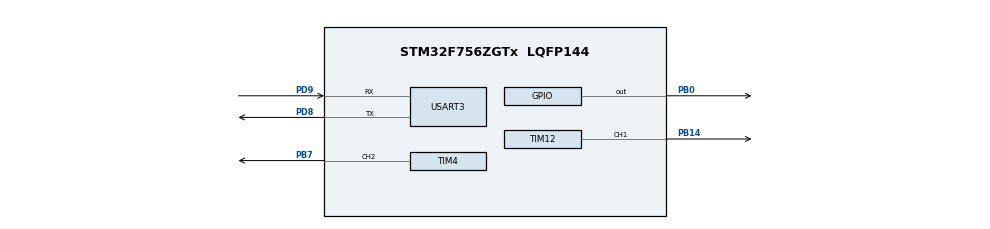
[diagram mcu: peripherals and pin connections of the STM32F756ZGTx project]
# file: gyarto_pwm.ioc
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ADC1.Channel-0\#ChannelRegularConversion=ADC_CHANNEL_TEMPSENSOR
ADC1.NbrOfConversionFlag=1
ADC1.Rank-0\#ChannelRegularConversion=1
ADC1.SamplingTime-0\#ChannelRegularConversion=ADC_SAMPLETIME_3CYCLES
ADC1.master=1
Mcu.Family=STM32F7
Mcu.Name=STM32F756ZGTx
Mcu.Package=LQFP144
NVIC.PriorityGroup=NVIC_PRIORITYGROUP_4
NVIC.TIM4_IRQn=true\:0\:0\:false\:false\:true\:true\:true
NVIC.TIM8_BRK_TIM12_IRQn=true\:0\:0\:false\:false\:true\:true\:true
NVIC.USART3_IRQn=true\:0\:0\:false\:false\:true\:true\:true
PB0.Signal=GPIO_Output
PB14.Signal=S_TIM12_CH1
PB7.Signal=S_TIM4_CH2
PD8.Mode=Asynchronous
PD8.Signal=USART3_TX
PD9.Mode=Asynchronous
PD9.Signal=USART3_RX
ProjectManager.HeapSize=0x200
ProjectManager.StackSize=0x400
ProjectManager.TargetToolchain=TrueSTUDIO
RCC.HSE_VALUE=25000000
RCC.HSI_VALUE=16000000
RCC.LSE_VALUE=32768
RCC.USBFreq_Value=96000000
RCC.VCOOutputFreq_Value=192000000
SH.S_TIM12_CH1.0=TIM12_CH1,PWM Generation1 CH1
SH.S_TIM4_CH2.0=TIM4_CH2,PWM Generation2 CH2
TIM12.Channel-PWM\ Generation1\ CH1=TIM_CHANNEL_1
TIM12.Period=100
TIM12.Prescaler=15
TIM12.Pulse-PWM\ Generation1\ CH1=50
TIM4.Channel-PWM\ Generation2\ CH2=TIM_CHANNEL_2
TIM4.Period=100
TIM4.Prescaler=15
TIM4.Pulse-PWM\ Generation2\ CH2=5
USART3.VirtualMode-Asynchronous=VM_ASYNC
VP_ADC1_TempSens_Input.Mode=IN-TempSens
VP_TIM12_VS_ClockSourceINT.Mode=Internal
VP_TIM4_VS_ClockSourceINT.Mode=Internal
board=custom

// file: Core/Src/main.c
/* USER CODE BEGIN Header */
/**
  ******************************************************************************
  * @file           : main.c
  * @brief          : Main program body
  ******************************************************************************
  * @attention
  *
  * <h2><center>&copy; Copyright (c) 2021 STMicroelectronics.
  * All rights reserved.</center></h2>
  *
  * This software component is licensed by ST under BSD 3-Clause license,
  * the "License"; You may not use this file except in compliance with the
  * License. You may obtain a copy of the License at:
  *                        opensource.org/licenses/BSD-3-Clause
  *
  ******************************************************************************
  */
/* USER CODE END Header */
#include "main.h"

/* USER CODE BEGIN PD */
#define MAX_LEN 4
/* USER CODE END PD */

ADC_HandleTypeDef hadc1;

TIM_HandleTypeDef htim4;
TIM_HandleTypeDef htim12;

UART_HandleTypeDef huart3;

void SystemClock_Config(void);
static void MX_GPIO_Init(void);
static void MX_TIM4_Init(void);
static void MX_TIM12_Init(void);
static void MX_USART3_UART_Init(void);
static void MX_ADC1_Init(void);
/* USER CODE BEGIN PFP */
uint8_t i=1;

uint16_t data=0;
uint8_t num_str[3];
char t=0;
uint32_t adc1_reg=0;
unsigned char uart_temp[10];
float temp = 0;
float kelvin=0;
float fahrenheit=0;
float ranken=0;

void HAL_UART_RxCpltCallback(UART_HandleTypeDef *huart)
{
	HAL_UART_Receive_IT(&huart3, &fogad, 1);

	t = fogad;
	t =  t- '0';
	/*received_string[cnt++] = data;

	data = t * 100; */

	if (huart->Instance == USART3)
	{

		switch(t){
			case 1: __HAL_TIM_SET_COMPARE(&htim4, TIM_CHANNEL_2, 0);

			break;

			case 2:
				__HAL_TIM_SET_COMPARE(&htim4, TIM_CHANNEL_2, 20);

				break;

			case 3: __HAL_TIM_SET_COMPARE(&htim4, TIM_CHANNEL_2, 40);

					break;

			case 4:
				__HAL_TIM_SET_COMPARE(&htim4, TIM_CHANNEL_2, 60);

					break;
			case 5:
						__HAL_TIM_SET_COMPARE(&htim4, TIM_CHANNEL_2, 80);

						break;
			case 6:
						__HAL_TIM_SET_COMPARE(&htim4, TIM_CHANNEL_2, 100);

					break;
		}

	}

}

void HAL_UART_TxCpltCallback(UART_HandleTypeDef *huart)
{
	//HAL_UART_Transmit_IT(&huart3, &fogad, 1);

}

//void HAL_UART_Receive_IT(&huart3, rx_buff, 10);
//void HAL_UART_Transmit_IT(&huart3, tx_buff, 10);
/* USER CODE END PFP */

/* USER CODE BEGIN 0 */
extern uint8_t fogad=0;
uint8_t tx_buff[]={0,1,2,3,4,5,6,7,8,9};
uint8_t rx_buff[10];

/* USER CODE END 0 */

int main(void)
{
  /* USER CODE BEGIN 1 */

	uint8_t text[] = "1: 0% \r\n 2: 20% \r\n 3: 40% \r\n 4: 60% \r\n 5: 80% \r\n 6: 100% \r\n" ;

  /* USER CODE END 1 */

  /* MCU Configuration--------------------------------------------------------*/

  /* Reset of all peripherals, Initializes the Flash interface and the Systick. */
  HAL_Init();

  /* Configure the system clock */
  SystemClock_Config();

  /* Initialize all configured peripherals */
  MX_GPIO_Init();
  MX_TIM4_Init();
  MX_TIM12_Init();
  MX_USART3_UART_Init();
  MX_ADC1_Init();
  /* USER CODE BEGIN 2 */
  //HAL_TIM_PWM_Start_IT(&htim12, TIM_CHANNEL_1);
  HAL_TIM_PWM_Start_IT(&htim4, TIM_CHANNEL_2);

  HAL_UART_Receive_IT(&huart3, &fogad, 1);
  //HAL_UART_Receive_IT(&huart3, rx_buff, 10);
  //HAL_UART_Transmit_IT(&huart3, tx_buff, 10);

  HAL_UART_Transmit(&huart3, text, sizeof(text), 20);

  __HAL_TIM_SET_COMPARE(&htim4, TIM_CHANNEL_2, 25);
  /* USER CODE END 2 */

  /* Infinite loop */
  while (1)
  {

  }
}

void SystemClock_Config(void)
{
  RCC_OscInitTypeDef RCC_OscInitStruct = {0};
  RCC_ClkInitTypeDef RCC_ClkInitStruct = {0};
  RCC_PeriphCLKInitTypeDef PeriphClkInitStruct = {0};

  /** Configure the main internal regulator output voltage
  */
  __HAL_RCC_PWR_CLK_ENABLE();
  __HAL_PWR_VOLTAGESCALING_CONFIG(PWR_REGULATOR_VOLTAGE_SCALE3);
  /** Initializes the RCC Oscillators according to the specified parameters
  * in the RCC_OscInitTypeDef structure.
  */
  RCC_OscInitStruct.OscillatorType = RCC_OSCILLATORTYPE_HSI;
  RCC_OscInitStruct.HSIState = RCC_HSI_ON;
  RCC_OscInitStruct.HSICalibrationValue = RCC_HSICALIBRATION_DEFAULT;
  RCC_OscInitStruct.PLL.PLLState = RCC_PLL_NONE;
  if (HAL_RCC_OscConfig(&RCC_OscInitStruct) != HAL_OK)
  {
    Error_Handler();
  }
  /** Initializes the CPU, AHB and APB buses clocks
  */
  RCC_ClkInitStruct.ClockType = RCC_CLOCKTYPE_HCLK|RCC_CLOCKTYPE_SYSCLK
                              |RCC_CLOCKTYPE_PCLK1|RCC_CLOCKTYPE_PCLK2;
  RCC_ClkInitStruct.SYSCLKSource = RCC_SYSCLKSOURCE_HSI;
  RCC_ClkInitStruct.AHBCLKDivider = RCC_SYSCLK_DIV1;
  RCC_ClkInitStruct.APB1CLKDivider = RCC_HCLK_DIV1;
  RCC_ClkInitStruct.APB2CLKDivider = RCC_HCLK_DIV1;

  if (HAL_RCC_ClockConfig(&RCC_ClkInitStruct, FLASH_LATENCY_0) != HAL_OK)
  {
    Error_Handler();
  }
  PeriphClkInitStruct.PeriphClockSelection = RCC_PERIPHCLK_USART3;
  PeriphClkInitStruct.Usart3ClockSelection = RCC_USART3CLKSOURCE_PCLK1;
  if (HAL_RCCEx_PeriphCLKConfig(&PeriphClkInitStruct) != HAL_OK)
  {
    Error_Handler();
  }
}

static void MX_ADC1_Init(void)
{

  ADC_ChannelConfTypeDef sConfig = {0};

  /** Configure the global features of the ADC (Clock, Resolution, Data Alignment and number of conversion)
  */
  hadc1.Instance = ADC1;
  hadc1.Init.ClockPrescaler = ADC_CLOCK_SYNC_PCLK_DIV2;
  hadc1.Init.Resolution = ADC_RESOLUTION_12B;
  hadc1.Init.ScanConvMode = ADC_SCAN_DISABLE;
  hadc1.Init.ContinuousConvMode = DISABLE;
  hadc1.Init.DiscontinuousConvMode = DISABLE;
  hadc1.Init.ExternalTrigConvEdge = ADC_EXTERNALTRIGCONVEDGE_NONE;
  hadc1.Init.ExternalTrigConv = ADC_SOFTWARE_START;
  hadc1.Init.DataAlign = ADC_DATAALIGN_RIGHT;
  hadc1.Init.NbrOfConversion = 1;
  hadc1.Init.DMAContinuousRequests = DISABLE;
  hadc1.Init.EOCSelection = ADC_EOC_SINGLE_CONV;
  if (HAL_ADC_Init(&hadc1) != HAL_OK)
  {
    Error_Handler();
  }
  /** Configure for the selected ADC regular channel its corresponding rank in the sequencer and its sample time.
  */
  sConfig.Channel = ADC_CHANNEL_TEMPSENSOR;
  sConfig.Rank = ADC_REGULAR_RANK_1;
  sConfig.SamplingTime = ADC_SAMPLETIME_3CYCLES;
  if (HAL_ADC_ConfigChannel(&hadc1, &sConfig) != HAL_OK)
  {
    Error_Handler();
  }

}

static void MX_TIM4_Init(void)
{

  TIM_ClockConfigTypeDef sClockSourceConfig = {0};
  TIM_MasterConfigTypeDef sMasterConfig = {0};
  TIM_OC_InitTypeDef sConfigOC = {0};

  htim4.Instance = TIM4;
  htim4.Init.Prescaler = 15;
  htim4.Init.CounterMode = TIM_COUNTERMODE_UP;
  htim4.Init.Period = 100;
  htim4.Init.ClockDivision = TIM_CLOCKDIVISION_DIV1;
  htim4.Init.AutoReloadPreload = TIM_AUTORELOAD_PRELOAD_DISABLE;
  if (HAL_TIM_Base_Init(&htim4) != HAL_OK)
  {
    Error_Handler();
  }
  sClockSourceConfig.ClockSource = TIM_CLOCKSOURCE_INTERNAL;
  if (HAL_TIM_ConfigClockSource(&htim4, &sClockSourceConfig) != HAL_OK)
  {
    Error_Handler();
  }
  if (HAL_TIM_PWM_Init(&htim4) != HAL_OK)
  {
    Error_Handler();
  }
  sMasterConfig.MasterOutputTrigger = TIM_TRGO_RESET;
  sMasterConfig.MasterSlaveMode = TIM_MASTERSLAVEMODE_DISABLE;
  if (HAL_TIMEx_MasterConfigSynchronization(&htim4, &sMasterConfig) != HAL_OK)
  {
    Error_Handler();
  }
  sConfigOC.OCMode = TIM_OCMODE_PWM1;
  sConfigOC.Pulse = 5;
  sConfigOC.OCPolarity = TIM_OCPOLARITY_HIGH;
  sConfigOC.OCFastMode = TIM_OCFAST_DISABLE;
  if (HAL_TIM_PWM_ConfigChannel(&htim4, &sConfigOC, TIM_CHANNEL_2) != HAL_OK)
  {
    Error_Handler();
  }
  /* USER CODE BEGIN TIM4_Init 2 */

  void TIM4_IRQHandler(void)
  	{
  	  /* USER CODE BEGIN TIM4_IRQn 0 */

  	  /* USER CODE END TIM4_IRQn 0 */
  	  HAL_TIM_IRQHandler(&htim4);
  	  /* USER CODE BEGIN TIM4_IRQn 1 */

  	  /* USER CODE END TIM4_IRQn 1 */
  	}
  /* USER CODE END TIM4_Init 2 */
  HAL_TIM_MspPostInit(&htim4);

}

static void MX_TIM12_Init(void)
{

  /* USER CODE BEGIN TIM12_Init 0 */

	/**
	  * @brief This function handles TIM8 break interrupt and TIM12 global interrupt.
	  */
	void TIM8_BRK_TIM12_IRQHandler(void)
	{
	  /* USER CODE BEGIN TIM8_BRK_TIM12_IRQn 0 */

	  /* USER CODE END TIM8_BRK_TIM12_IRQn 0 */
	  HAL_TIM_IRQHandler(&htim12);
	  /* USER CODE BEGIN TIM8_BRK_TIM12_IRQn 1 */

	  /* USER CODE END TIM8_BRK_TIM12_IRQn 1 */
	}
  /* USER CODE END TIM12_Init 0 */

  TIM_ClockConfigTypeDef sClockSourceConfig = {0};
  TIM_OC_InitTypeDef sConfigOC = {0};

  htim12.Instance = TIM12;
  htim12.Init.Prescaler = 15;
  htim12.Init.CounterMode = TIM_COUNTERMODE_UP;
  htim12.Init.Period = 100;
  htim12.Init.ClockDivision = TIM_CLOCKDIVISION_DIV1;
  htim12.Init.AutoReloadPreload = TIM_AUTORELOAD_PRELOAD_DISABLE;
  if (HAL_TIM_Base_Init(&htim12) != HAL_OK)
  {
    Error_Handler();
  }
  sClockSourceConfig.ClockSource = TIM_CLOCKSOURCE_INTERNAL;
  if (HAL_TIM_ConfigClockSource(&htim12, &sClockSourceConfig) != HAL_OK)
  {
    Error_Handler();
  }
  if (HAL_TIM_PWM_Init(&htim12) != HAL_OK)
  {
    Error_Handler();
  }
  sConfigOC.OCMode = TIM_OCMODE_PWM1;
  sConfigOC.Pulse = 50;
  sConfigOC.OCPolarity = TIM_OCPOLARITY_HIGH;
  sConfigOC.OCFastMode = TIM_OCFAST_DISABLE;
  if (HAL_TIM_PWM_ConfigChannel(&htim12, &sConfigOC, TIM_CHANNEL_1) != HAL_OK)
  {
    Error_Handler();
  }
  HAL_TIM_MspPostInit(&htim12);

}

static void MX_USART3_UART_Init(void)
{

  huart3.Instance = USART3;
  huart3.Init.BaudRate = 115200;
  huart3.Init.WordLength = UART_WORDLENGTH_8B;
  huart3.Init.StopBits = UART_STOPBITS_1;
  huart3.Init.Parity = UART_PARITY_NONE;
  huart3.Init.Mode = UART_MODE_TX_RX;
  huart3.Init.HwFlowCtl = UART_HWCONTROL_NONE;
  huart3.Init.OverSampling = UART_OVERSAMPLING_16;
  huart3.Init.OneBitSampling = UART_ONE_BIT_SAMPLE_DISABLE;
  huart3.AdvancedInit.AdvFeatureInit = UART_ADVFEATURE_NO_INIT;
  if (HAL_UART_Init(&huart3) != HAL_OK)
  {
    Error_Handler();
  }

}

static void MX_GPIO_Init(void)
{
  GPIO_InitTypeDef GPIO_InitStruct = {0};

  /* GPIO Ports Clock Enable */
  __HAL_RCC_GPIOB_CLK_ENABLE();
  __HAL_RCC_GPIOD_CLK_ENABLE();

  /*Configure GPIO pin Output Level */
  HAL_GPIO_WritePin(GPIOB, GPIO_PIN_0, GPIO_PIN_RESET);

  /*Configure GPIO pin : PB0 */
  GPIO_InitStruct.Pin = GPIO_PIN_0;
  GPIO_InitStruct.Mode = GPIO_MODE_OUTPUT_PP;
  GPIO_InitStruct.Pull = GPIO_NOPULL;
  GPIO_InitStruct.Speed = GPIO_SPEED_FREQ_LOW;
  HAL_GPIO_Init(GPIOB, &GPIO_InitStruct);

}

/* USER CODE BEGIN 4 */
/*void HAL_UART_RxCpltCallback(UART_HandleTypeDef *huart)
{
	__NOP();
}
void HAL_UART_TxCpltCallback(UART_HandleTypeDef *huart)
{
	__NOP();
} */

/* USER CODE END 4 */

void Error_Handler(void)
{
  __disable_irq();
  while (1)
  {
  }
}

/************************ (C) COPYRIGHT STMicroelectronics *****END OF FILE****/
